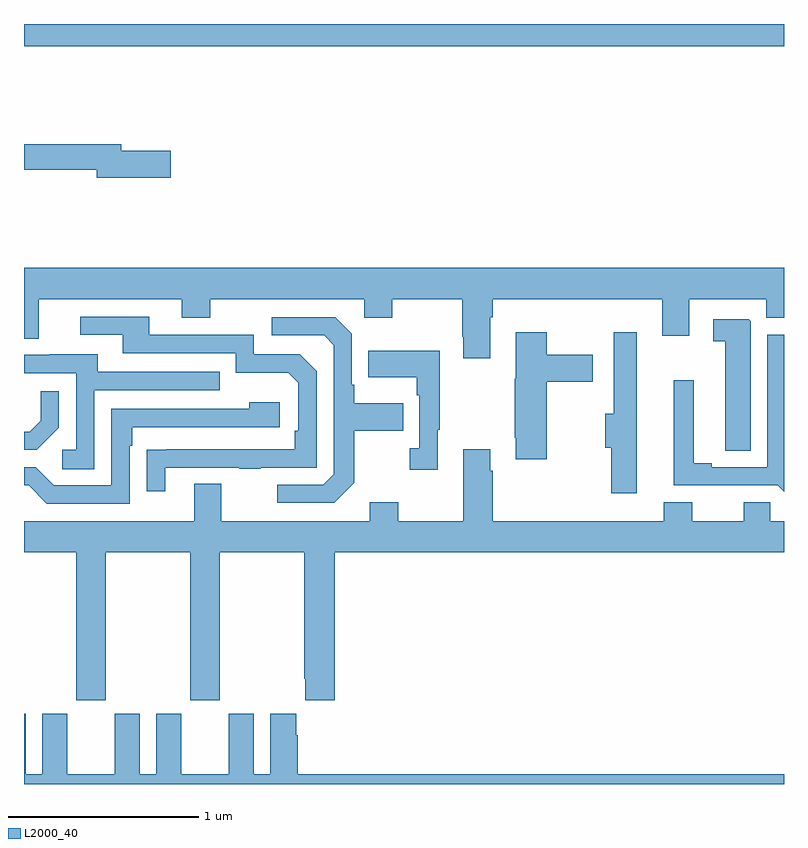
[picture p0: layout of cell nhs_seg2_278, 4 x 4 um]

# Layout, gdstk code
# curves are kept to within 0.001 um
import gdstk
lib = gdstk.Library(unit=1e-6, precision=1e-09)
def R(c, l, rs):  # rectangles x0, y0, x1, y1
    for r in rs: c.add(gdstk.rectangle(r[:2], r[2:], *l))
def P(c, l, *ps):  # polygons
    for p in ps: c.add(gdstk.Polygon(p, *l))
L2000_40 = (2000, 40)

nhs_seg2_278 = lib.new_cell('nhs_seg2_278')
R(nhs_seg2_278, L2000_40, [(125,599.684,129,599.8)])
P(nhs_seg2_278, L2000_40, [(125.773,599.132),(125.512,599.132),(125.512,599.168),(125,599.168),(125,599.032),(125.384,599.032),(125.384,598.99),(125.773,598.99)],
  [(127.453,598.256),(127.466,598.256),(127.466,598.352),(128.36,598.352),(128.36,598.158),(128.5,598.158),(128.5,598.352),(128.906,598.352),(128.906,598.254),(129,598.254),(129,598.516),(125,598.516),(125,598.144),(125.077,598.144),(125.077,598.352),(125.831,598.352),(125.831,598.253),(125.979,598.253),(125.979,598.352),(126.792,598.352),(126.792,598.253),(126.939,598.253),(126.939,598.352),(127.306,598.352),(127.306,598.153),(127.313,598.153),(127.313,598.041),(127.453,598.041)],
  [(125.743,597.465),(126.133,597.465),(126.133,597.46),(126.245,597.46),(126.245,597.465),(126.54,597.465),(126.54,597.972),(126.45,598.062),(126.21,598.062),(126.21,598.164),(125.659,598.164),(125.659,598.26),(125.295,598.26),(125.295,598.164),(125.519,598.164),(125.519,598.068),(126.114,598.068),(126.114,597.965),(126.391,597.965),(126.444,597.912),(126.444,597.658),(126.424,597.658),(126.424,597.561),(125.647,597.56),(125.647,597.342),(125.743,597.342)],
  [(126.739,597.385),(126.739,597.658),(126.995,597.658),(126.995,597.805),(126.739,597.805),(126.739,597.901),(126.726,597.901),(126.726,598.17),(126.639,598.257),(126.303,598.257),(126.303,598.161),(126.579,598.161),(126.63,598.11),(126.63,597.429),(126.576,597.375),(126.333,597.375),(126.333,597.279),(126.633,597.279)],
  [(128.824,598.235),(128.814,598.245),(128.628,598.245),(128.628,598.129),(128.69,598.129),(128.69,597.553),(128.824,597.553)],
  [(127.752,597.917),(127.993,597.917),(127.993,598.059),(127.752,598.059),(127.752,598.177),(127.589,598.177),(127.589,597.933),(127.582,597.933),(127.582,597.622),(127.589,597.622),(127.589,597.51),(127.752,597.51)],
  [(128.224,598.177),(128.105,598.177),(128.105,597.749),(128.059,597.749),(128.059,597.571),(128.09,597.571),(128.09,597.33),(128.224,597.33)],
  [(129,598.164),(128.913,598.164),(128.913,597.468),(128.62,597.468),(128.62,597.488),(128.524,597.488),(128.524,597.925),(128.42,597.925),(128.42,597.372),(128.966,597.372),(129,597.338)],
  [(127.177,597.665),(127.189,597.665),(127.189,598.081),(126.811,598.081),(126.811,597.941),(127.068,597.941),(127.068,597.845),(127.08,597.845),(127.08,597.566),(127.029,597.566),(127.029,597.453),(127.177,597.453)],
  [(125.37,597.873),(126.029,597.873),(126.029,597.969),(125.389,597.969),(125.389,598.063),(125.135,598.063),(125.135,598.059),(125,598.059),(125,597.963),(125.274,597.963),(125.274,597.558),(125.202,597.558),(125.202,597.457),(125.37,597.457)],
  [(125.184,597.674),(125.184,597.868),(125.087,597.868),(125.087,597.711),(125.03,597.654),(125,597.654),(125,597.558),(125.068,597.558)],
  [(125.556,597.581),(125.569,597.581),(125.569,597.678),(126.346,597.678),(126.346,597.808),(126.185,597.808),(126.185,597.774),(125.46,597.774),(125.46,597.372),(125.157,597.372),(125.061,597.468),(125,597.468),(125,597.372),(125.025,597.372),(125.121,597.276),(125.556,597.276)],
  [(125.43,597.02),(125.875,597.02),(125.875,596.241),(126.03,596.241),(126.03,597.02),(126.475,597.02),(126.475,596.353),(126.479,596.353),(126.479,596.241),(126.635,596.241),(126.635,597.02),(129,597.02),(129,597.184),(128.928,597.184),(128.928,597.282),(128.789,597.282),(128.789,597.184),(128.518,597.184),(128.518,597.283),(128.366,597.283),(128.366,597.184),(127.466,597.184),(127.466,597.449),(127.453,597.449),(127.453,597.562),(127.313,597.562),(127.313,597.184),(126.969,597.184),(126.969,597.283),(126.821,597.283),(126.821,597.184),(126.037,597.184),(126.037,597.379),(125.897,597.379),(125.897,597.184),(125,597.184),(125,597.02),(125.275,597.02),(125.275,596.241),(125.43,596.241)],
  [(129,595.852),(126.44,595.852),(126.44,596.057),(126.433,596.057),(126.433,596.17),(126.296,596.17),(126.296,595.852),(126.208,595.852),(126.208,596.17),(126.077,596.17),(126.077,595.852),(125.827,595.852),(125.827,596.17),(125.696,596.17),(125.696,595.852),(125.608,595.852),(125.608,596.17),(125.477,596.17),(125.477,595.852),(125.227,595.852),(125.227,596.17),(125.096,596.17),(125.096,595.852),(125.008,595.852),(125.008,596.17),(125,596.17),(125,595.8),(129,595.8)])

lib.write_gds('nhs_seg2_278.gds')
